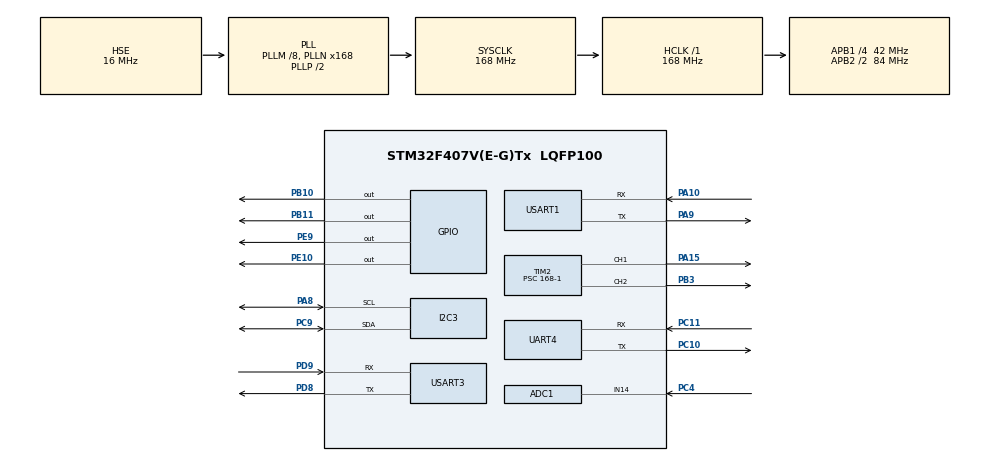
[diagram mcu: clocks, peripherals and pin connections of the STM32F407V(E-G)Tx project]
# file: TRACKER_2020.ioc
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ADC1.Channel-0\#ChannelRegularConversion=ADC_CHANNEL_14
ADC1.ClockPrescaler=ADC_CLOCK_SYNC_PCLK_DIV4
ADC1.ContinuousConvMode=ENABLE
ADC1.EOCSelection=ADC_EOC_SINGLE_CONV
ADC1.NbrOfConversion=1
ADC1.NbrOfConversionFlag=1
ADC1.Rank-0\#ChannelRegularConversion=1
ADC1.SamplingTime-0\#ChannelRegularConversion=ADC_SAMPLETIME_3CYCLES
ADC1.ScanConvMode=DISABLE
ADC1.master=1
Dma.Request0=USART1_RX
Dma.Request1=UART4_RX
Dma.Request2=USART3_RX
Dma.UART4_RX.1.Direction=DMA_PERIPH_TO_MEMORY
Dma.UART4_RX.1.FIFOMode=DMA_FIFOMODE_DISABLE
Dma.UART4_RX.1.Instance=DMA1_Stream2
Dma.UART4_RX.1.MemDataAlignment=DMA_MDATAALIGN_BYTE
Dma.UART4_RX.1.MemInc=DMA_MINC_ENABLE
Dma.UART4_RX.1.Mode=DMA_CIRCULAR
Dma.UART4_RX.1.PeriphDataAlignment=DMA_PDATAALIGN_BYTE
Dma.UART4_RX.1.PeriphInc=DMA_PINC_DISABLE
Dma.UART4_RX.1.Priority=DMA_PRIORITY_LOW
Dma.USART1_RX.0.Direction=DMA_PERIPH_TO_MEMORY
Dma.USART1_RX.0.FIFOMode=DMA_FIFOMODE_DISABLE
Dma.USART1_RX.0.Instance=DMA2_Stream2
Dma.USART1_RX.0.MemDataAlignment=DMA_MDATAALIGN_BYTE
Dma.USART1_RX.0.MemInc=DMA_MINC_ENABLE
Dma.USART1_RX.0.Mode=DMA_CIRCULAR
Dma.USART1_RX.0.PeriphDataAlignment=DMA_PDATAALIGN_BYTE
Dma.USART1_RX.0.PeriphInc=DMA_PINC_DISABLE
Dma.USART1_RX.0.Priority=DMA_PRIORITY_LOW
Dma.USART3_RX.2.Direction=DMA_PERIPH_TO_MEMORY
Dma.USART3_RX.2.FIFOMode=DMA_FIFOMODE_DISABLE
Dma.USART3_RX.2.Instance=DMA1_Stream1
Dma.USART3_RX.2.MemDataAlignment=DMA_MDATAALIGN_BYTE
Dma.USART3_RX.2.MemInc=DMA_MINC_ENABLE
Dma.USART3_RX.2.Mode=DMA_CIRCULAR
Dma.USART3_RX.2.PeriphDataAlignment=DMA_PDATAALIGN_BYTE
Dma.USART3_RX.2.PeriphInc=DMA_PINC_DISABLE
Dma.USART3_RX.2.Priority=DMA_PRIORITY_LOW
Mcu.Family=STM32F4
Mcu.Name=STM32F407V(E-G)Tx
Mcu.Package=LQFP100
NVIC.ADC_IRQn=true\:0\:0\:false\:false\:true\:true\:true
NVIC.DMA1_Stream1_IRQn=true\:0\:0\:false\:false\:true\:false\:true
NVIC.DMA1_Stream2_IRQn=true\:0\:0\:false\:false\:true\:false\:true
NVIC.DMA2_Stream2_IRQn=true\:0\:0\:false\:false\:true\:false\:true
NVIC.PriorityGroup=NVIC_PRIORITYGROUP_4
NVIC.UART4_IRQn=true\:0\:0\:false\:false\:true\:true\:true
NVIC.USART1_IRQn=true\:0\:0\:false\:false\:true\:true\:true
NVIC.USART3_IRQn=true\:0\:0\:false\:false\:true\:true\:true
PA10.Mode=Asynchronous
PA10.Signal=USART1_RX
PA13.Mode=Serial_Wire
PA13.Signal=SYS_JTMS-SWDIO
PA14.Mode=Serial_Wire
PA14.Signal=SYS_JTCK-SWCLK
PA15.Signal=S_TIM2_CH1_ETR
PA8.Mode=I2C
PA8.Signal=I2C3_SCL
PA9.Mode=Asynchronous
PA9.Signal=USART1_TX
PB10.Signal=GPIO_Output
PB11.Signal=GPIO_Output
PB3.Signal=S_TIM2_CH2
PC10.Mode=Asynchronous
PC10.Signal=UART4_TX
PC11.Mode=Asynchronous
PC11.Signal=UART4_RX
PC4.Signal=ADCx_IN14
PC9.Mode=I2C
PC9.Signal=I2C3_SDA
PD8.Mode=Asynchronous
PD8.Signal=USART3_TX
PD9.Mode=Asynchronous
PD9.Signal=USART3_RX
PE10.Signal=GPIO_Output
PE9.Signal=GPIO_Output
PH0-OSC_IN.Mode=HSE-External-Oscillator
PH0-OSC_IN.Signal=RCC_OSC_IN
PH1-OSC_OUT.Mode=HSE-External-Oscillator
PH1-OSC_OUT.Signal=RCC_OSC_OUT
ProjectManager.HeapSize=0x200
ProjectManager.StackSize=0x400
ProjectManager.TargetToolchain=STM32CubeIDE
RCC.48MHZClocksFreq_Value=84000000
RCC.AHBFreq_Value=168000000
RCC.APB1CLKDivider=RCC_HCLK_DIV4
RCC.APB1Freq_Value=42000000
RCC.APB1TimFreq_Value=84000000
RCC.APB2CLKDivider=RCC_HCLK_DIV2
RCC.APB2Freq_Value=84000000
RCC.APB2TimFreq_Value=168000000
RCC.CortexFreq_Value=168000000
RCC.HCLKFreq_Value=168000000
RCC.HSE_VALUE=16000000
RCC.HSI_VALUE=16000000
RCC.LSE_VALUE=32768
RCC.PLLM=8
RCC.PLLN=168
RCC.PLLSourceVirtual=RCC_PLLSOURCE_HSE
RCC.SYSCLKFreq_VALUE=168000000
RCC.SYSCLKSource=RCC_SYSCLKSOURCE_PLLCLK
RCC.VCOOutputFreq_Value=336000000
SH.ADCx_IN14.0=ADC1_IN14,IN14
SH.S_TIM2_CH1_ETR.0=TIM2_CH1,PWM Generation1 CH1
SH.S_TIM2_CH2.0=TIM2_CH2,PWM Generation2 CH2
TIM2.Channel-PWM\ Generation1\ CH1=TIM_CHANNEL_1
TIM2.Channel-PWM\ Generation2\ CH2=TIM_CHANNEL_2
TIM2.Period=1000 - 1
TIM2.Prescaler=168-1
UART4.VirtualMode=Asynchronous
USART1.VirtualMode=VM_ASYNC
USART3.VirtualMode=VM_ASYNC
VP_TIM2_VS_ClockSourceINT.Mode=Internal
board=custom

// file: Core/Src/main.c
/* USER CODE BEGIN Header */
/**
  ******************************************************************************
  * @file           : main.c
  * @brief          : Main program body
  ******************************************************************************
  * @attention
  *
  * <h2><center>&copy; Copyright (c) 2020 STMicroelectronics.
  * All rights reserved.</center></h2>
  *
  * This software component is licensed by ST under BSD 3-Clause license,
  * the "License"; You may not use this file except in compliance with the
  * License. You may obtain a copy of the License at:
  *                        opensource.org/licenses/BSD-3-Clause
  *
  ******************************************************************************
  */
/* USER CODE END Header */
#include "main.h"

/* USER CODE BEGIN Includes */
#include <string.h>
#include <stdio.h>
#include <stdlib.h>
#include <stdbool.h>
#include <math.h>

#include "I2Cdev.h"
#include "HMC5883L.h"
/* USER CODE END Includes */

/* USER CODE BEGIN PD */
//KOMPAS
#define PI	3.14159265358979f
		/*PID YAW*/
#define KP_YAW 20
#define KI_YAW 0
#define KD_YAW 55
		/*PID PITCH*/
#define KP_PITCH 100
#define KI_PITCH 0
#define KD_PITCH 110

void input_data_wahana();
/* USER CODE END PD */

ADC_HandleTypeDef hadc1;

I2C_HandleTypeDef hi2c3;

TIM_HandleTypeDef htim2;

UART_HandleTypeDef huart4;
UART_HandleTypeDef huart1;
UART_HandleTypeDef huart3;
DMA_HandleTypeDef hdma_uart4_rx;
DMA_HandleTypeDef hdma_usart1_rx;
DMA_HandleTypeDef hdma_usart3_rx;

/* USER CODE BEGIN PV */
uint8_t buffer[200];
uint16_t ukuranstring;
//----------KOMPAS-------
int16_t x_heading, y_heading, z_heading;
float heading, headingDegrees, declinationAngle;
//---------potensio------
uint32_t data_potensio;
float analog_potensio;
//---------var Control PID-----
int Out_PIDPITCH, Out_PIDYAW;
int dir_pitch = 0;
int dir_yaw = 0;
float KI_pitch = 0;
float KI_yaw = 0;
float errorPitch, last_errorPitch, pitch_P, pitch_I, pitch_D;
float errorYaw, last_errorYaw, yaw_P, yaw_I, yaw_D;
float errorI_yaw, hasilErrorYaw, pidy;
float data_heading, data_Pitch1;
//---------VAR GPS ACSES-----
float lon_gps, lat_gps;
char lat[20], lat_a, lon[20], lon_a;
DMA_Event_t dma_uart4_rx = {0, 0, DMA_BUF_SIZE};
uint8_t dma_rx4_buf[DMA_BUF_SIZE];
uint8_t data_gps[DMA_BUF_SIZE] = {'\0'};
bool UART4DataFlag = false;
//----------VAR DATA INPUT----
DMA_Event_t dma_uart1_rx = {0, 0, DMA_BUF_SIZE};
uint8_t dma_rx1_buf[DMA_BUF_SIZE];
uint8_t data_input[DMA_BUF_SIZE] = {'\0'};
bool USART1DataFlag = false;
char setPoint_pitchAct[10], setPoint_yawAct[10];
float setPoint_pitch = 0, setPoint_yaw=1;
int cek_in, flag_in, a_in, bit_in, ke_in = 0, metu_in, mode_in = 0;
// --------drivermotor---
int arah;
uint16_t pwm;
// --------Data Wahana -----
DMA_Event_t dma_uart3_rx = {0, 0, DMA_BUF_SIZE};
uint8_t dma_rx3_buf[DMA_BUF_SIZE];
uint8_t data_wahana[DMA_BUF_SIZE] = {'\0'};
bool USART3DataFlag = false;
int cek_w, a_w, flag_w, bit_w, ke_w = 0, out_w;
char data_mode_w[10], data_yaw_w[10], data_pitch_w[10], data_roll_w[10];
char data_angin_w[10], data_alti_w[10], data_lat_w[10], data_long_w[10], data_bat_w[10];
int mode_w;
float yaw_w, pitch_w, roll_w, angin_w, alti_w, lat_w, long_w, bat_w;
/* USER CODE END PV */

void SystemClock_Config(void);
static void MX_GPIO_Init(void);
static void MX_DMA_Init(void);
static void MX_I2C3_Init(void);
static void MX_USART1_UART_Init(void);
static void MX_ADC1_Init(void);
static void MX_TIM2_Init(void);
static void MX_UART4_Init(void);
static void MX_USART3_UART_Init(void);

/* USER CODE BEGIN 0 */
float baca_potensio(){
	HAL_ADC_Start(&hadc1);
	while (__HAL_ADC_GET_FLAG(&hadc1, ADC_FLAG_EOC) != SET){;}
		  HAL_ADC_Stop(&hadc1);
		  data_potensio = HAL_ADC_GetValue(&hadc1);
		  analog_potensio = (float)data_potensio;
		  if (analog_potensio > 5200) analog_potensio = 5200;
		  return analog_potensio*(180.0f/5200.0f);
}
void GetPOTENSIO(){
	  data_Pitch1 = baca_potensio();
}
void HMC5883LInit(){
	HMC5883L_initialize();
	HAL_Delay(1000);
	while (!HMC5883L_testConnection()){
		ukuranstring = sprintf((char*)buffer, "Inisialisasi HMC5893L GAGAL \r\n");
		HAL_UART_Transmit(&huart1, buffer, ukuranstring, 10);
		HMC5883L_initialize();
		HAL_Delay(500);
	}
	ukuranstring = sprintf((char*)buffer, "Inisialisasi HMC5893L Telah Berhasil \r\n");
	HAL_UART_Transmit(&huart1, buffer, ukuranstring, 10);
}
float bacaheading(){
	HMC5883L_getHeading(&x_heading, &y_heading, &z_heading);
	heading = (atan2(x_heading, y_heading));
	declinationAngle = 0.22;				//data untuk mendahului gerakan yaw saat wahana cepat
	heading += declinationAngle;
	//normalise PI 0 sampai dengan 360
	if (heading < 0){
		heading += 2*PI;
	}
	if (heading > 2*PI){
		heading -= 2*PI;
	}
	headingDegrees = heading * 180 / M_PI;	//konversi dari data radian menjadi degree
	if (headingDegrees < 0) headingDegrees += 360;
	else if (headingDegrees > 360) headingDegrees -= 360;
	return headingDegrees;
}
void GetHMC5893L(){
	if(HMC5883L_getReadyStatus()){
		data_heading = bacaheading();
	}
}
void cek_heading(){
	if(data_heading == 0.0){
		ukuranstring = sprintf((char*)buffer, "data heading INVALID !!\r\n");
		HAL_UART_Transmit(&huart1, buffer, ukuranstring, 10);
		return;
	}
}
void SetDriverMotor_yaw(int arah, uint16_t pwm){
	switch (arah){
	case 0:
		HAL_GPIO_WritePin(GPIOB, GPIO_PIN_10, GPIO_PIN_SET);
		HAL_GPIO_WritePin(GPIOB, GPIO_PIN_11, GPIO_PIN_RESET);
		break;
	case 1:
		HAL_GPIO_WritePin(GPIOB, GPIO_PIN_10, GPIO_PIN_RESET);
		HAL_GPIO_WritePin(GPIOB, GPIO_PIN_11, GPIO_PIN_SET);
		break;
	}
	__HAL_TIM_SET_COMPARE(&htim2, TIM_CHANNEL_1, pwm);
}
void SetDriverMotor_pitch(int arah, uint16_t pwm ){
	switch (arah){
	case 0:
		HAL_GPIO_WritePin(GPIOE, GPIO_PIN_9, GPIO_PIN_RESET);
		HAL_GPIO_WritePin(GPIOE, GPIO_PIN_10, GPIO_PIN_SET);
		break;
	case 1:
		HAL_GPIO_WritePin(GPIOE, GPIO_PIN_9, GPIO_PIN_SET);
		HAL_GPIO_WritePin(GPIOE, GPIO_PIN_10, GPIO_PIN_RESET);
		break;
	}
	__HAL_TIM_SET_COMPARE(&htim2, TIM_CHANNEL_2, pwm);
}
//-----------parsing Data GPS---------------
void gps_parse(){
	if(UART4DataFlag == 1){
				  char *pointer;
				  int length = sizeof(data_gps);

				  memset(lat, '\0', 20);
				  memset(lon, '\0', 20) ;
				  pointer = strchr((char*)data_gps, '$');

				  do{
					  char *ptrstart;
					  char *ptrend;
					  if(strncmp(pointer, "$GNGGA" , 6) == 0){ //$GNGGA
						  ptrstart = (char*)memchr(pointer + 1, ',', length);
						  ptrstart = (char*)memchr(ptrstart + 1, ',', length);
						  ptrend = (char*)memchr(ptrstart + 1, ',', length);

					  } else if(strncmp(pointer, "$GNGLL", 6) == 0){ //$GNGLL
						  ptrstart = (char*)memchr(pointer + 1, ',', length);
						  ptrend = (char*)memchr(ptrstart + 1, ',', length);

					  } else if(strncmp(pointer, "$GNRMC", 6) == 0){
						  ptrstart = (char*)memchr(pointer + 1, ',', length);
						  ptrstart = (char*)memchr(ptrstart + 1, ',', length);
						  ptrstart = (char*)memchr(ptrstart + 1, ',', length);
						  ptrend = (char*)memchr(ptrstart + 1, ',', length);

					  } else {
						  pointer = strchr(pointer + 6, '$');
						  continue;
					  }

					  for(int i = 1; i < (ptrend - ptrstart); i++) lat[i - 1] = ptrstart[i];
					  lat_a = *(ptrend + 1);

					  ptrstart = (char*)memchr(ptrend + 1, ',', length);
					  ptrend = (char*)memchr(ptrstart + 1, ',', length);

					  for(int i = 1; i < (ptrend - ptrstart); i++) lon[i - 1] = ptrstart[i];
					  lon_a = *(ptrend + 1);
					  if(lon[0] != '\0' && lat[0] != '\0'){
						  //ukuranstring = sprintf((char*)buffer, "Lat: %s | %c\tLon: %s | %c\r\n", lat, lat_a, lon, lon_a);
						  //HAL_UART_Transmit(&huart1, buffer, ukuranstring, 100);
						  lat_gps = atof((char*)lat);
						  lon_gps = atof((char*)lon);
						  break;
					  }
					  pointer = strchr(pointer + 4, '$');
				  }
				  while(pointer != NULL);
				  UART4DataFlag = false;
			  }
}
void baca_input(){
	if(USART1DataFlag == true){
		uint8_t pitch[2];
		uint8_t yaw[3];
		   if(data_input[0] == '#'){ //#,30,090
			   pitch[0] = data_input[2];
			   pitch[1] = data_input[3];

			   yaw[0] = data_input[5];
			   yaw[1] = data_input[6];
			   yaw[2] = data_input[7];
			   ukuranstring = sprintf((char*)buffer, "Pitch: %s\tYaw: %s\r\n", pitch, yaw);
			   HAL_UART_Transmit(&huart1, buffer, ukuranstring, 100);

			   setPoint_pitch = atof ((char*)pitch);
			   setPoint_yaw = atof ((char*)yaw);
			   if (setPoint_pitch > 90) setPoint_pitch = 90;
			   if (setPoint_pitch <  0) setPoint_pitch = 0;
			   if (setPoint_yaw > 359) setPoint_yaw= 359;
			   if (setPoint_yaw <  1 ) setPoint_yaw = 1;
			   ukuranstring = sprintf((char*)buffer, "data INPUT = %s | %f | %f\r\n", data_input, setPoint_pitch, setPoint_yaw);
			   HAL_UART_Transmit(&huart1, buffer, ukuranstring, 10);
		   } else{
			   ukuranstring = sprintf((char*)buffer, "Data salah\r\n");
			   HAL_UART_Transmit(&huart1, buffer, ukuranstring, 100);
		   }
		   USART1DataFlag = false;
	}
}
//------------------------PID CONTROL-----------------------
void PID_PITCH(){
	errorPitch = setPoint_pitch - data_Pitch1;
	int maxPitchSpeed = 900;
	ukuranstring = sprintf((char*)buffer, "erorPitch = %f", errorPitch);
	HAL_UART_Transmit(&huart1, buffer, ukuranstring, 10);
	if (errorPitch < 0){
		dir_pitch = 0;   //TURUN
		maxPitchSpeed = 250;
	} else {
		dir_pitch = 1;  //NAIK
	}

	pitch_P  = KP_PITCH * errorPitch;
	pitch_I += KI_PITCH * errorPitch;
	pitch_D  = KD_PITCH * (errorPitch - last_errorPitch);

	if (-5.0f < errorPitch && errorPitch < 5.0f){
		if (pitch_I > 90)
			pitch_I = 90;
		else if (pitch_I < (-90)){
			pitch_I = -90;
			KI_pitch = 0.5;
		}
	} else {
		KI_pitch = 0.9;
	}
	Out_PIDPITCH = pitch_P + pitch_I + pitch_D;
	if (Out_PIDPITCH < 0)Out_PIDPITCH *= -1;
	if (Out_PIDPITCH > maxPitchSpeed) Out_PIDPITCH = maxPitchSpeed;
	if (errorPitch == 0) Out_PIDPITCH = 0;
		SetDriverMotor_pitch(dir_pitch, Out_PIDPITCH);
		last_errorPitch = errorPitch;
}
void PID_YAW(){
	errorYaw = setPoint_yaw - data_heading;
	if (data_heading >= 265 && setPoint_yaw <= 95){
		errorYaw += 359;
	} else if (data_heading <= 95 && setPoint_yaw >= 265){
		errorYaw += 359;
		errorYaw *= -1;
	}
	if (errorYaw < 0){
		dir_yaw = 1;
	} else {
		dir_yaw = 0;
	}

	yaw_P  = KP_YAW * errorYaw;
	yaw_I += KI_YAW * errorYaw;
	yaw_D  = KD_YAW * (errorYaw - last_errorYaw);

	if (-5.0f < errorYaw && errorYaw < 5.0f){
		if (yaw_I > 120) yaw_I = -120;
		else if (-2.0f < errorYaw && errorYaw < 2.0f) KI_yaw = 0.2;
		else (KI_yaw = 0.4);
	} else {
		KI_yaw = 0.4;
	}
	Out_PIDYAW = yaw_P + yaw_I + yaw_D;

	if (Out_PIDYAW < 0) Out_PIDYAW *= -1;
	if (Out_PIDYAW > 500) Out_PIDYAW = 500;

	if (-1.5f < errorYaw && errorYaw < 1.5f) Out_PIDYAW = 0;
	SetDriverMotor_yaw(dir_yaw, Out_PIDYAW);
	last_errorYaw = errorYaw;
}
void input_data_wahana(){
	if(USART3DataFlag == true){
		ukuranstring = sprintf((char*)buffer, "Wahana input = %s\r\n", data_wahana);
		HAL_UART_Transmit(&huart3, buffer, ukuranstring, 10);
		for (cek_w = 0; cek_w < sizeof(data_wahana); cek_w++){
			if(('t' == data_wahana[cek_w]) && (flag_w == 0)){
				if(flag_w == 0){
					a_w = cek_w + 1;
					flag_w = 9;
				}
				break;
			}
		}
		if (flag_w == 9){
			for(cek_w = a_w; cek_w < sizeof(data_wahana); cek_w++){
				if (data_wahana[cek_w] == ','){
					bit_w ++;
					ke_w = 0;
					continue;
				} else {
					if(bit_w == 1){
						data_mode_w[ke_w] = data_wahana[cek_w];
					} else if (bit_w == 2){
						data_yaw_w[ke_w] = data_wahana[cek_w];
					} else if (bit_w == 3){
						data_pitch_w[ke_w] = data_wahana[cek_w];
					} else if (bit_w == 4){
						data_roll_w[ke_w] = data_wahana[cek_w];
					} else if (bit_w == 5){
						data_angin_w[ke_w] = data_wahana[cek_w];
					} else if (bit_w == 6){
						data_alti_w[ke_w] = data_wahana[cek_w];
					} else if (bit_w == 7){
						data_lat_w[ke_w] = data_wahana[cek_w];
					} else if (bit_w == 8){
						data_long_w[ke_w] = data_wahana[cek_w];
					} else if (bit_w == 9){
						data_bat_w[ke_w] = data_wahana[cek_w];
					} else if (bit_w > 9){
						bit_w = 0;
						flag_w = 0;
						out_w = 1;
						break;
					} ke_w++;
				}
			}
		}
		mode_w  = atoi(data_mode_w);
		yaw_w   = atof(data_yaw_w);
		pitch_w = atof(data_pitch_w);
		roll_w  = atof(data_roll_w);
		angin_w = atof(data_angin_w);
		alti_w  = atof(data_alti_w);
		lat_w	= atof(data_lat_w);
		long_w	= atof(data_long_w);
		bat_w	= atof(data_bat_w);
		USART3DataFlag = false;
	}
}
void kirim_GCS(){
	ukuranstring = sprintf((char*)buffer, "%d,%2.f,%2.f,%2.f,%2.f,%2.f,%2.f,%f,%2.f,%f,%f,%f,%f\r\n", mode_w, yaw_w,
			pitch_w, roll_w, angin_w, alti_w, lat_w, long_w, bat_w, data_Pitch1, data_heading, lat_gps, lon_gps);
	//ukuranstring = sprintf((char*)buffer, "POT:%f | HMC:%f | P:%d | Y:%d\r\n", data_Pitch1, data_heading, Out_PIDPITCH, Out_PIDYAW);
	HAL_UART_Transmit(&huart1, buffer, ukuranstring, 30);
}
/* USER CODE END 0 */

int main(void)
{

  /* MCU Configuration--------------------------------------------------------*/

  /* Reset of all peripherals, Initializes the Flash interface and the Systick. */
  HAL_Init();

  /* Configure the system clock */
  SystemClock_Config();

  /* Initialize all configured peripherals */
  MX_GPIO_Init();
  MX_DMA_Init();
  MX_I2C3_Init();
  MX_USART1_UART_Init();
  MX_ADC1_Init();
  MX_TIM2_Init();
  MX_UART4_Init();
  MX_USART3_UART_Init();
  /* USER CODE BEGIN 2 */
  I2Cdev_init(&hi2c3);
  HAL_TIM_PWM_Start(&htim2, TIM_CHANNEL_1);
  HAL_TIM_PWM_Start(&htim2, TIM_CHANNEL_2);
  HMC5883LInit();
  bacaheading();
  HAL_ADC_Start(&hadc1);

  //interupt usart4
  __HAL_UART_ENABLE_IT(&huart4, UART_IT_IDLE);
  if(HAL_UART_Receive_DMA(&huart4, dma_rx4_buf, DMA_BUF_SIZE) != HAL_OK){
	  Error_Handler();
  }

  __HAL_DMA_DISABLE_IT(huart4.hdmarx, DMA_IT_HT);

  //interupt uart1
  __HAL_UART_ENABLE_IT(&huart1, UART_IT_IDLE);
  if(HAL_UART_Receive_DMA(&huart1, dma_rx1_buf, DMA_BUF_SIZE) != HAL_OK){
	  Error_Handler();
  }

  __HAL_DMA_DISABLE_IT(huart1.hdmarx, DMA_IT_HT);

  //interupt usart2
  __HAL_UART_ENABLE_IT(&huart3, UART_IT_IDLE);
  if(HAL_UART_Receive_DMA(&huart3, dma_rx3_buf, DMA_BUF_SIZE) != HAL_OK){
	  Error_Handler();
  }

  __HAL_DMA_DISABLE_IT(huart3.hdmarx, DMA_IT_HT);
  /* USER CODE END 2 */

  /* Infinite loop */
  /* USER CODE BEGIN WHILE */
  ukuranstring = sprintf((char*)buffer, "=========SISTEM TRACKER DICOBA======\r\n");
  HAL_UART_Transmit(&huart1, buffer, ukuranstring, 5);
  while (1)
  {
	  input_data_wahana();
	  gps_parse();
	  GetHMC5893L();
	  GetPOTENSIO();
	  cek_heading();
	  baca_input();     //send : "#,{arahVertikal},{arahHorizontal}\n
	  PID_PITCH();
	  PID_YAW();
	  kirim_GCS();
    /* USER CODE END WHILE */

  }
}

void SystemClock_Config(void)
{
  RCC_OscInitTypeDef RCC_OscInitStruct = {0};
  RCC_ClkInitTypeDef RCC_ClkInitStruct = {0};

  /** Configure the main internal regulator output voltage
  */
  __HAL_RCC_PWR_CLK_ENABLE();
  __HAL_PWR_VOLTAGESCALING_CONFIG(PWR_REGULATOR_VOLTAGE_SCALE1);
  /** Initializes the RCC Oscillators according to the specified parameters
  * in the RCC_OscInitTypeDef structure.
  */
  RCC_OscInitStruct.OscillatorType = RCC_OSCILLATORTYPE_HSE;
  RCC_OscInitStruct.HSEState = RCC_HSE_ON;
  RCC_OscInitStruct.PLL.PLLState = RCC_PLL_ON;
  RCC_OscInitStruct.PLL.PLLSource = RCC_PLLSOURCE_HSE;
  RCC_OscInitStruct.PLL.PLLM = 8;
  RCC_OscInitStruct.PLL.PLLN = 168;
  RCC_OscInitStruct.PLL.PLLP = RCC_PLLP_DIV2;
  RCC_OscInitStruct.PLL.PLLQ = 4;
  if (HAL_RCC_OscConfig(&RCC_OscInitStruct) != HAL_OK)
  {
    Error_Handler();
  }
  /** Initializes the CPU, AHB and APB buses clocks
  */
  RCC_ClkInitStruct.ClockType = RCC_CLOCKTYPE_HCLK|RCC_CLOCKTYPE_SYSCLK
                              |RCC_CLOCKTYPE_PCLK1|RCC_CLOCKTYPE_PCLK2;
  RCC_ClkInitStruct.SYSCLKSource = RCC_SYSCLKSOURCE_PLLCLK;
  RCC_ClkInitStruct.AHBCLKDivider = RCC_SYSCLK_DIV1;
  RCC_ClkInitStruct.APB1CLKDivider = RCC_HCLK_DIV4;
  RCC_ClkInitStruct.APB2CLKDivider = RCC_HCLK_DIV2;

  if (HAL_RCC_ClockConfig(&RCC_ClkInitStruct, FLASH_LATENCY_5) != HAL_OK)
  {
    Error_Handler();
  }
}

static void MX_ADC1_Init(void)
{

  ADC_ChannelConfTypeDef sConfig = {0};

  /** Configure the global features of the ADC (Clock, Resolution, Data Alignment and number of conversion)
  */
  hadc1.Instance = ADC1;
  hadc1.Init.ClockPrescaler = ADC_CLOCK_SYNC_PCLK_DIV4;
  hadc1.Init.Resolution = ADC_RESOLUTION_12B;
  hadc1.Init.ScanConvMode = DISABLE;
  hadc1.Init.ContinuousConvMode = ENABLE;
  hadc1.Init.DiscontinuousConvMode = DISABLE;
  hadc1.Init.ExternalTrigConvEdge = ADC_EXTERNALTRIGCONVEDGE_NONE;
  hadc1.Init.ExternalTrigConv = ADC_SOFTWARE_START;
  hadc1.Init.DataAlign = ADC_DATAALIGN_RIGHT;
  hadc1.Init.NbrOfConversion = 1;
  hadc1.Init.DMAContinuousRequests = DISABLE;
  hadc1.Init.EOCSelection = ADC_EOC_SINGLE_CONV;
  if (HAL_ADC_Init(&hadc1) != HAL_OK)
  {
    Error_Handler();
  }
  /** Configure for the selected ADC regular channel its corresponding rank in the sequencer and its sample time.
  */
  sConfig.Channel = ADC_CHANNEL_14;
  sConfig.Rank = 1;
  sConfig.SamplingTime = ADC_SAMPLETIME_3CYCLES;
  if (HAL_ADC_ConfigChannel(&hadc1, &sConfig) != HAL_OK)
  {
    Error_Handler();
  }

}

static void MX_I2C3_Init(void)
{

  hi2c3.Instance = I2C3;
  hi2c3.Init.ClockSpeed = 100000;
  hi2c3.Init.DutyCycle = I2C_DUTYCYCLE_2;
  hi2c3.Init.OwnAddress1 = 0;
  hi2c3.Init.AddressingMode = I2C_ADDRESSINGMODE_7BIT;
  hi2c3.Init.DualAddressMode = I2C_DUALADDRESS_DISABLE;
  hi2c3.Init.OwnAddress2 = 0;
  hi2c3.Init.GeneralCallMode = I2C_GENERALCALL_DISABLE;
  hi2c3.Init.NoStretchMode = I2C_NOSTRETCH_DISABLE;
  if (HAL_I2C_Init(&hi2c3) != HAL_OK)
  {
    Error_Handler();
  }

}

static void MX_TIM2_Init(void)
{

  TIM_ClockConfigTypeDef sClockSourceConfig = {0};
  TIM_MasterConfigTypeDef sMasterConfig = {0};
  TIM_OC_InitTypeDef sConfigOC = {0};

  htim2.Instance = TIM2;
  htim2.Init.Prescaler = 168-1;
  htim2.Init.CounterMode = TIM_COUNTERMODE_UP;
  htim2.Init.Period = 1000 - 1;
  htim2.Init.ClockDivision = TIM_CLOCKDIVISION_DIV1;
  htim2.Init.AutoReloadPreload = TIM_AUTORELOAD_PRELOAD_DISABLE;
  if (HAL_TIM_Base_Init(&htim2) != HAL_OK)
  {
    Error_Handler();
  }
  sClockSourceConfig.ClockSource = TIM_CLOCKSOURCE_INTERNAL;
  if (HAL_TIM_ConfigClockSource(&htim2, &sClockSourceConfig) != HAL_OK)
  {
    Error_Handler();
  }
  if (HAL_TIM_PWM_Init(&htim2) != HAL_OK)
  {
    Error_Handler();
  }
  sMasterConfig.MasterOutputTrigger = TIM_TRGO_RESET;
  sMasterConfig.MasterSlaveMode = TIM_MASTERSLAVEMODE_DISABLE;
  if (HAL_TIMEx_MasterConfigSynchronization(&htim2, &sMasterConfig) != HAL_OK)
  {
    Error_Handler();
  }
  sConfigOC.OCMode = TIM_OCMODE_PWM1;
  sConfigOC.Pulse = 0;
  sConfigOC.OCPolarity = TIM_OCPOLARITY_HIGH;
  sConfigOC.OCFastMode = TIM_OCFAST_DISABLE;
  if (HAL_TIM_PWM_ConfigChannel(&htim2, &sConfigOC, TIM_CHANNEL_1) != HAL_OK)
  {
    Error_Handler();
  }
  if (HAL_TIM_PWM_ConfigChannel(&htim2, &sConfigOC, TIM_CHANNEL_2) != HAL_OK)
  {
    Error_Handler();
  }
  HAL_TIM_MspPostInit(&htim2);

}

static void MX_UART4_Init(void)
{

  huart4.Instance = UART4;
  huart4.Init.BaudRate = 115200;
  huart4.Init.WordLength = UART_WORDLENGTH_8B;
  huart4.Init.StopBits = UART_STOPBITS_1;
  huart4.Init.Parity = UART_PARITY_NONE;
  huart4.Init.Mode = UART_MODE_TX_RX;
  huart4.Init.HwFlowCtl = UART_HWCONTROL_NONE;
  huart4.Init.OverSampling = UART_OVERSAMPLING_16;
  if (HAL_UART_Init(&huart4) != HAL_OK)
  {
    Error_Handler();
  }

}

static void MX_USART1_UART_Init(void)
{

  huart1.Instance = USART1;
  huart1.Init.BaudRate = 115200;
  huart1.Init.WordLength = UART_WORDLENGTH_8B;
  huart1.Init.StopBits = UART_STOPBITS_1;
  huart1.Init.Parity = UART_PARITY_NONE;
  huart1.Init.Mode = UART_MODE_TX_RX;
  huart1.Init.HwFlowCtl = UART_HWCONTROL_NONE;
  huart1.Init.OverSampling = UART_OVERSAMPLING_16;
  if (HAL_UART_Init(&huart1) != HAL_OK)
  {
    Error_Handler();
  }

}

static void MX_USART3_UART_Init(void)
{

  huart3.Instance = USART3;
  huart3.Init.BaudRate = 115200;
  huart3.Init.WordLength = UART_WORDLENGTH_8B;
  huart3.Init.StopBits = UART_STOPBITS_1;
  huart3.Init.Parity = UART_PARITY_NONE;
  huart3.Init.Mode = UART_MODE_TX_RX;
  huart3.Init.HwFlowCtl = UART_HWCONTROL_NONE;
  huart3.Init.OverSampling = UART_OVERSAMPLING_16;
  if (HAL_UART_Init(&huart3) != HAL_OK)
  {
    Error_Handler();
  }

}

static void MX_DMA_Init(void)
{

  /* DMA controller clock enable */
  __HAL_RCC_DMA2_CLK_ENABLE();
  __HAL_RCC_DMA1_CLK_ENABLE();

  /* DMA interrupt init */
  /* DMA1_Stream1_IRQn interrupt configuration */
  HAL_NVIC_SetPriority(DMA1_Stream1_IRQn, 0, 0);
  HAL_NVIC_EnableIRQ(DMA1_Stream1_IRQn);
  /* DMA1_Stream2_IRQn interrupt configuration */
  HAL_NVIC_SetPriority(DMA1_Stream2_IRQn, 0, 0);
  HAL_NVIC_EnableIRQ(DMA1_Stream2_IRQn);
  /* DMA2_Stream2_IRQn interrupt configuration */
  HAL_NVIC_SetPriority(DMA2_Stream2_IRQn, 0, 0);
  HAL_NVIC_EnableIRQ(DMA2_Stream2_IRQn);

}

static void MX_GPIO_Init(void)
{
  GPIO_InitTypeDef GPIO_InitStruct = {0};

  /* GPIO Ports Clock Enable */
  __HAL_RCC_GPIOH_CLK_ENABLE();
  __HAL_RCC_GPIOC_CLK_ENABLE();
  __HAL_RCC_GPIOE_CLK_ENABLE();
  __HAL_RCC_GPIOB_CLK_ENABLE();
  __HAL_RCC_GPIOD_CLK_ENABLE();
  __HAL_RCC_GPIOA_CLK_ENABLE();

  /*Configure GPIO pin Output Level */
  HAL_GPIO_WritePin(GPIOE, GPIO_PIN_9|GPIO_PIN_10, GPIO_PIN_RESET);

  /*Configure GPIO pin Output Level */
  HAL_GPIO_WritePin(GPIOB, GPIO_PIN_10|GPIO_PIN_11, GPIO_PIN_RESET);

  /*Configure GPIO pins : PE9 PE10 */
  GPIO_InitStruct.Pin = GPIO_PIN_9|GPIO_PIN_10;
  GPIO_InitStruct.Mode = GPIO_MODE_OUTPUT_PP;
  GPIO_InitStruct.Pull = GPIO_NOPULL;
  GPIO_InitStruct.Speed = GPIO_SPEED_FREQ_LOW;
  HAL_GPIO_Init(GPIOE, &GPIO_InitStruct);

  /*Configure GPIO pins : PB10 PB11 */
  GPIO_InitStruct.Pin = GPIO_PIN_10|GPIO_PIN_11;
  GPIO_InitStruct.Mode = GPIO_MODE_OUTPUT_PP;
  GPIO_InitStruct.Pull = GPIO_NOPULL;
  GPIO_InitStruct.Speed = GPIO_SPEED_FREQ_LOW;
  HAL_GPIO_Init(GPIOB, &GPIO_InitStruct);

}

/* USER CODE BEGIN 4 */
void HAL_UART_RxCpltCallback(UART_HandleTypeDef *huart){
	if(huart->Instance == UART4){
	    uint16_t i, pos, start, length;
	    uint16_t currCNDTR = __HAL_DMA_GET_COUNTER(huart->hdmarx);

	    if(dma_uart4_rx.flag && currCNDTR == DMA_BUF_SIZE)
	    {
	        dma_uart4_rx.flag = 0;
	        return;
	    }
	    start = (dma_uart4_rx.prevCNDTR < DMA_BUF_SIZE) ? (DMA_BUF_SIZE - dma_uart4_rx.prevCNDTR) : 0;
	    if(dma_uart4_rx.flag)    /* Timeout event */
	    {
	        length = (dma_uart4_rx.prevCNDTR < DMA_BUF_SIZE) ? (dma_uart4_rx.prevCNDTR - currCNDTR) : (DMA_BUF_SIZE - currCNDTR);
	        dma_uart4_rx.prevCNDTR = currCNDTR;
	        dma_uart4_rx.flag = 0;
	    }
	    else                /* DMA Rx Complete event */
	    {
	        length = DMA_BUF_SIZE - start;
	        dma_uart4_rx.prevCNDTR = DMA_BUF_SIZE;
	    }
	    for(i=0,pos=start; i<length; ++i,++pos)
	    {
	        data_gps[i] = dma_rx4_buf[pos];
	    }
	    UART4DataFlag = true;
	}
	else if(huart->Instance == USART1){
		uint16_t a, pos, mulai, kanan;
		uint16_t currCNDTR = __HAL_DMA_GET_COUNTER(huart->hdmarx);
		if (dma_uart1_rx.flag && currCNDTR == DMA_BUF_SIZE){
			dma_uart1_rx.flag = 0;
			return;
		}
		mulai = (dma_uart1_rx.prevCNDTR < DMA_BUF_SIZE) ? (DMA_BUF_SIZE - dma_uart1_rx.prevCNDTR) : 0;

		if (dma_uart1_rx.flag) { // time out
			kanan = (dma_uart1_rx.prevCNDTR < DMA_BUF_SIZE) ? (dma_uart1_rx.prevCNDTR - currCNDTR) : (DMA_BUF_SIZE - currCNDTR);
			dma_uart1_rx.prevCNDTR = currCNDTR;
			dma_uart1_rx.flag = 0;
		} else {				//complete event
			kanan = DMA_BUF_SIZE - mulai;
			dma_uart1_rx.prevCNDTR = DMA_BUF_SIZE;
		}
		for (a = 0,pos = mulai; a < kanan; ++a,++pos){
			data_input[a] = dma_rx1_buf[pos];
		}
		USART1DataFlag = true;
	}
	else if (huart->Instance == USART3){
		uint16_t c, pos, mulai, kiri;
		uint16_t currCNDTR = __HAL_DMA_GET_COUNTER(huart->hdmarx);
		if(dma_uart3_rx.flag && currCNDTR == DMA_BUF_SIZE){
			dma_uart3_rx.flag = 0;
			return;
		}
		mulai = (dma_uart3_rx.prevCNDTR < DMA_BUF_SIZE) ? (DMA_BUF_SIZE - dma_uart3_rx.prevCNDTR) : 0;

		if (dma_uart3_rx.flag){
			kiri = (dma_uart3_rx.prevCNDTR < DMA_BUF_SIZE) ? (dma_uart3_rx.prevCNDTR - currCNDTR) : (DMA_BUF_SIZE - currCNDTR);
			dma_uart3_rx.prevCNDTR = currCNDTR;
			dma_uart3_rx.flag = 0;
		} else {
			kiri = DMA_BUF_SIZE - mulai;
			dma_uart3_rx.prevCNDTR = DMA_BUF_SIZE;
		}
		for(c = 0,pos = mulai; c < kiri; ++c, ++pos){
			data_wahana[c] = dma_rx3_buf[pos];
		}
		USART3DataFlag = true;
	}
}
/* USER CODE END 4 */

void Error_Handler(void)
{
}

/************************ (C) COPYRIGHT STMicroelectronics *****END OF FILE****/
